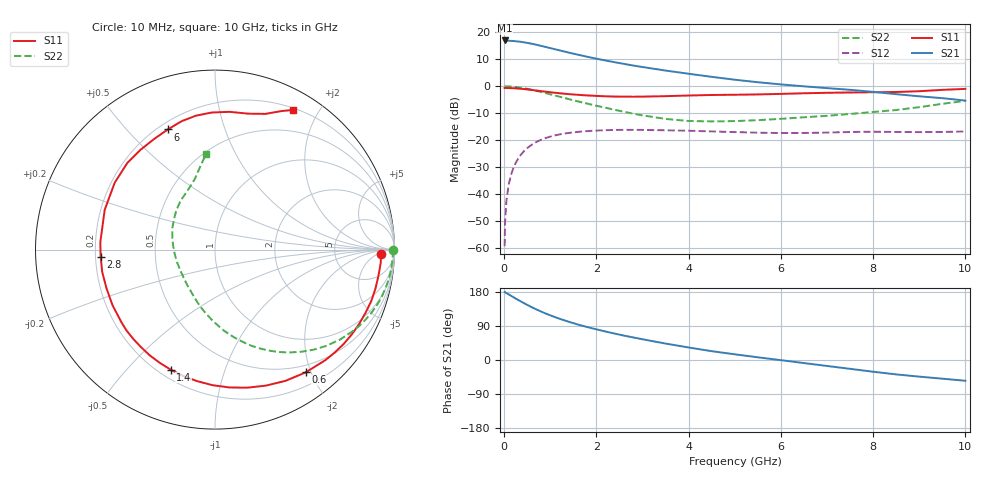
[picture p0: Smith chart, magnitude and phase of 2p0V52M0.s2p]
! (c) 2009  Infineon Technologies AG, Munich
! Infineon Technologies  Discrete & RF Semiconductors
! BFP420
! VCE =  0.5 V,  IC =  2.0 mA
! Common Emitter S-Parameters:  Nov 2009
# GHz  S  MA  R  50
!  f  S11  S21  S12  S22
! GHz  MAG  ANG  MAG  ANG  MAG  ANG  MAG  ANG
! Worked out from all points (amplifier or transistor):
!   46 points, 10 MHz to 10 GHz, reference 50 ohm
!   highest |S21| = 16.9 dB at 10 MHz (marker M1)
!   |S21| within 3 dB of that: start of sweep to 1.043 GHz
!   unconditionally stable (mu >= 1): 3.958 GHz to end of sweep
!   at 300 MHz: K = 0.05, MSG = 21.7 dB, |S12| = -26.9 dB
!   at 1.7 GHz: K = 0.39, MSG = 14.0 dB, |S12| = -16.7 dB
!   at 10 GHz: K = 1.18, MAG = 3.1 dB, |S12| = -16.8 dB
!   lowest NFmin = 0.53 dB at 900 MHz
!   S11 on the Smith chart (normalised r, x): 10 MHz: 24, -8; 600 MHz: 0.39, -1.92; 1.4 GHz: 0.25, -0.67; 2.8 GHz: 0.22, -0.03; 6 GHz: 0.24, +0.66; 10 GHz: 0.22, +1.68
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0.01  0.9278 -1.5  7 179.4  0.0011 83.9  0.9904 -0.2
0.02  0.9257 -1.8  6.819 179.0  0.0031 87.6  0.9912 -1.2
0.05  0.9263 -4.6  6.867 176.5  0.0078 86.0  0.9907 -3.2
0.15  0.9199 -13.8  6.877 169.4  0.0231 81.8  0.9824 -9.6
0.25  0.9097 -22.8  6.756 162.1  0.038 76.2  0.9654 -15.8
0.4  0.8889 -36.3  6.531 152.0  0.0588 68.0  0.9258 -24.8
0.6  0.8506 -53.5  6.081 139.2  0.0829 58.0  0.8579 -35.8
0.7  0.8302 -61.7  5.83 133.4  0.093 53.4  0.8195 -40.9
0.9  0.79 -76.9  5.307 122.7  0.1098 45.1  0.7435 -50.0
1.2  0.7396 -97.8  4.592 108.9  0.128 34.8  0.6378 -61.9
1.4  0.7129 -110.3  4.176 100.9  0.1364 29.0  0.577 -68.8
1.7  0.682 -127.2  3.657 90.3  0.1455 21.6  0.4988 -77.9
1.9  0.668 -137.5  3.354 83.9  0.1494 17.2  0.4545 -83.7
2.2  0.6497 -151.5  2.981 75.1  0.1535 11.5  0.3983 -91.6
2.8  0.6382 -176.5  2.407 59.5  0.1556 1.9  0.3106 -108.2
3.5  0.6533 160.2  1.943 43.4  0.1528 -6.6  0.2479 -129.7
4.5  0.6867 135.4  1.487 23.3  0.1457 -14.9  0.2229 -161.5
5.5  0.7034 118.9  1.182 7.1  0.138 -19.3  0.2349 174.0
6  0.7193 111.4  1.078 -0.4  0.1359 -20.4  0.2489 163.2
7  0.7537 98.1  0.92 -15.7  0.1387 -22.7  0.2828 144.1
8.5  0.7798 76.2  0.711 -38.0  0.1423 -30.3  0.3623 115.0
10  0.8902 60.9  0.541 -54.8  0.1452 -34.0  0.5349 95.4
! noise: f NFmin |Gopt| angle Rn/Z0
0.9  0.53  0.47  33  0.22
1.8  1.03  0.29  77  0.17
2.4  1.13  0.31  102  0.16
3  1.32  0.31  136  0.12
4  1.57  0.37  -168  0.1
5  1.96  0.42  -129  0.28
6  2.72  0.51  -111  0.37
